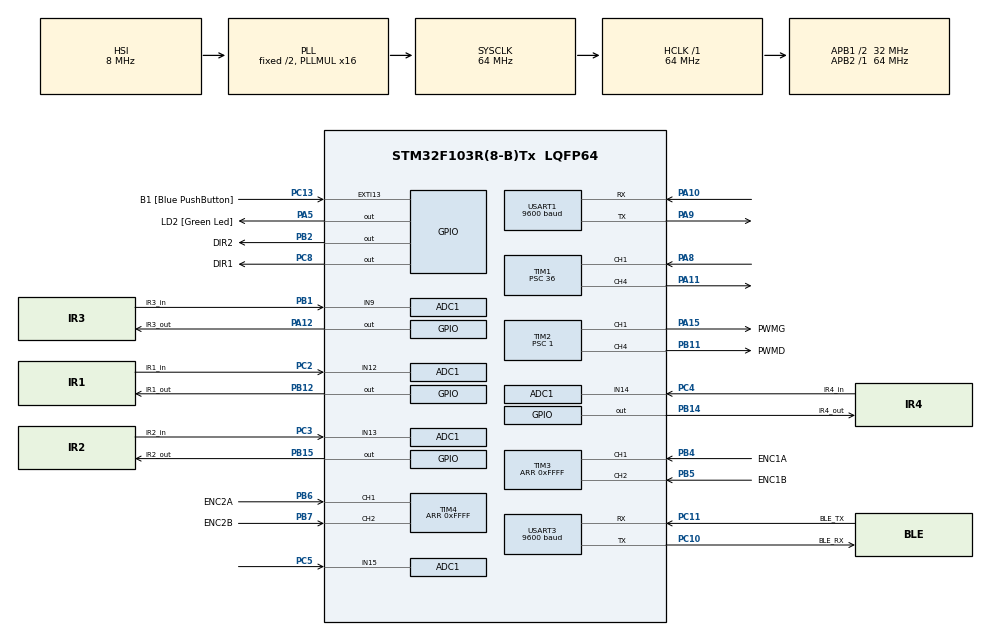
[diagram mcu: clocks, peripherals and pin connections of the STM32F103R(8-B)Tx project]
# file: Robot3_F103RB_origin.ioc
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ADC1.AWD1HighThreshold=4095
ADC1.AWD1ITMode=ENABLE
ADC1.AWD1LowThreshold=3750
ADC1.Channel-0\#ChannelRegularConversion=ADC_CHANNEL_9
ADC1.Channel-1\#ChannelRegularConversion=ADC_CHANNEL_12
ADC1.Channel-2\#ChannelRegularConversion=ADC_CHANNEL_13
ADC1.Channel-3\#ChannelRegularConversion=ADC_CHANNEL_14
ADC1.Channel-4\#ChannelRegularConversion=ADC_CHANNEL_15
ADC1.ContinuousConvMode=DISABLE
ADC1.DataAlign=ADC_DATAALIGN_RIGHT
ADC1.DiscontinuousConvMode=DISABLE
ADC1.EnableAnalogWatchDog=true
ADC1.EnableRegularConversion=ENABLE
ADC1.ExternalTrigConv=ADC_SOFTWARE_START
ADC1.InjNumberOfConversion=0
ADC1.NbrOfConversion=5
ADC1.NbrOfConversionFlag=1
ADC1.Rank-0\#ChannelRegularConversion=1
ADC1.Rank-1\#ChannelRegularConversion=2
ADC1.Rank-2\#ChannelRegularConversion=3
ADC1.Rank-3\#ChannelRegularConversion=4
ADC1.Rank-4\#ChannelRegularConversion=5
ADC1.SamplingTime-0\#ChannelRegularConversion=ADC_SAMPLETIME_239CYCLES_5
ADC1.SamplingTime-1\#ChannelRegularConversion=ADC_SAMPLETIME_239CYCLES_5
ADC1.SamplingTime-2\#ChannelRegularConversion=ADC_SAMPLETIME_239CYCLES_5
ADC1.SamplingTime-3\#ChannelRegularConversion=ADC_SAMPLETIME_239CYCLES_5
ADC1.SamplingTime-4\#ChannelRegularConversion=ADC_SAMPLETIME_239CYCLES_5
ADC1.ScanConvMode=ADC_SCAN_ENABLE
ADC1.WatchdogChannel=ADC_CHANNEL_15
ADC1.master=1
Dma.ADC1.0.Direction=DMA_PERIPH_TO_MEMORY
Dma.ADC1.0.Instance=DMA1_Channel1
Dma.ADC1.0.MemDataAlignment=DMA_MDATAALIGN_HALFWORD
Dma.ADC1.0.MemInc=DMA_MINC_ENABLE
Dma.ADC1.0.Mode=DMA_CIRCULAR
Dma.ADC1.0.PeriphDataAlignment=DMA_PDATAALIGN_HALFWORD
Dma.ADC1.0.PeriphInc=DMA_PINC_DISABLE
Dma.ADC1.0.Priority=DMA_PRIORITY_LOW
Dma.Request0=ADC1
Mcu.Family=STM32F1
Mcu.Name=STM32F103R(8-B)Tx
Mcu.Package=LQFP64
NVIC.DMA1_Channel1_IRQn=true\:0\:0\:false\:false\:true\:true\:true\:true
NVIC.EXTI15_10_IRQn=true\:0\:0\:false\:true\:true\:1\:true\:true\:true
NVIC.PriorityGroup=NVIC_PRIORITYGROUP_4
NVIC.TIM1_CC_IRQn=true\:0\:0\:false\:false\:true\:true\:true\:true
NVIC.TIM2_IRQn=true\:0\:0\:false\:false\:true\:true\:true\:true
NVIC.TIM3_IRQn=true\:0\:0\:false\:false\:true\:true\:true\:true
NVIC.USART1_IRQn=true\:0\:0\:false\:false\:true\:true\:true\:true
NVIC.USART3_IRQn=true\:0\:0\:false\:true\:true\:2\:true\:true\:true
PA10.Mode=Asynchronous
PA10.Signal=USART1_RX
PA11.Signal=S_TIM1_CH4
PA12.GPIO_Label=IR3_out
PA12.Signal=GPIO_Output
PA13.GPIO_Label=TMS
PA13.Mode=Serial_Wire
PA13.Signal=SYS_JTMS-SWDIO
PA14.GPIO_Label=TCK
PA14.Mode=Serial_Wire
PA14.Signal=SYS_JTCK-SWCLK
PA15.GPIO_Label=PWMG
PA15.Signal=S_TIM2_CH1_ETR
PA2.GPIO_Label=USART_TX
PA2.GPIO_Mode=GPIO_MODE_AF_PP
PA2.GPIO_PuPd=GPIO_NOPULL
PA2.GPIO_Speed=GPIO_SPEED_FREQ_LOW
PA2.Signal=USART2_TX
PA3.GPIO_Label=USART_RX
PA3.GPIO_Mode=GPIO_MODE_AF_PP
PA3.GPIO_PuPd=GPIO_NOPULL
PA3.GPIO_Speed=GPIO_SPEED_FREQ_LOW
PA3.Signal=USART2_RX
PA5.GPIO_Label=LD2 [Green Led]
PA5.GPIO_ModeDefaultOutputPP=GPIO_MODE_OUTPUT_PP
PA5.GPIO_PuPd=GPIO_NOPULL
PA5.GPIO_Speed=GPIO_SPEED_FREQ_LOW
PA5.Signal=GPIO_Output
PA8.Signal=S_TIM1_CH1
PA9.Mode=Asynchronous
PA9.Signal=USART1_TX
PB1.GPIO_Label=IR3_in
PB1.Signal=ADCx_IN9
PB11.GPIO_Label=PWMD
PB11.Signal=S_TIM2_CH4
PB12.GPIO_Label=IR1_out
PB12.Signal=GPIO_Output
PB14.GPIO_Label=IR4_out
PB14.Signal=GPIO_Output
PB15.GPIO_Label=IR2_out
PB15.Signal=GPIO_Output
PB2.GPIO_Label=DIR2
PB2.Signal=GPIO_Output
PB3.GPIO_Label=SWO
PB3.Signal=SYS_JTDO-TRACESWO
PB4.GPIO_Label=ENC1A
PB4.Signal=S_TIM3_CH1
PB5.GPIO_Label=ENC1B
PB5.Signal=S_TIM3_CH2
PB6.GPIO_Label=ENC2A
PB6.Signal=S_TIM4_CH1
PB7.GPIO_Label=ENC2B
PB7.Signal=S_TIM4_CH2
PC10.GPIO_Label=BLE_RX
PC10.Mode=Asynchronous
PC10.Signal=USART3_TX
PC11.GPIO_Label=BLE_TX
PC11.Mode=Asynchronous
PC11.Signal=USART3_RX
PC13-TAMPER-RTC.GPIO_Label=B1 [Blue PushButton]
PC13-TAMPER-RTC.GPIO_ModeDefaultEXTI=GPIO_MODE_IT_FALLING
PC13-TAMPER-RTC.GPIO_PuPd=GPIO_NOPULL
PC13-TAMPER-RTC.Signal=GPXTI13
PC14-OSC32_IN.Signal=RCC_OSC32_IN
PC15-OSC32_OUT.Signal=RCC_OSC32_OUT
PC2.GPIO_Label=IR1_in
PC2.Signal=ADCx_IN12
PC3.GPIO_Label=IR2_in
PC3.Signal=ADCx_IN13
PC4.GPIO_Label=IR4_in
PC4.Signal=ADCx_IN14
PC5.Signal=ADCx_IN15
PC8.GPIO_Label=DIR1
PC8.Signal=GPIO_Output
PD0-OSC_IN.Signal=RCC_OSC_IN
PD1-OSC_OUT.Signal=RCC_OSC_OUT
ProjectManager.HeapSize=0x200
ProjectManager.StackSize=0x400
ProjectManager.TargetToolchain=STM32CubeIDE
RCC.ADCPresc=RCC_ADCPCLK2_DIV8
RCC.AHBFreq_Value=64000000
RCC.APB1CLKDivider=RCC_HCLK_DIV2
RCC.APB1Freq_Value=32000000
RCC.APB1TimFreq_Value=64000000
RCC.APB2Freq_Value=64000000
RCC.APB2TimFreq_Value=64000000
RCC.HCLKFreq_Value=64000000
RCC.PLLMUL=RCC_PLL_MUL16
RCC.SYSCLKFreq_VALUE=64000000
RCC.SYSCLKSource=RCC_SYSCLKSOURCE_PLLCLK
RCC.USBFreq_Value=64000000
SH.ADCx_IN12.0=ADC1_IN12,IN12
SH.ADCx_IN13.0=ADC1_IN13,IN13
SH.ADCx_IN14.0=ADC1_IN14,IN14
SH.ADCx_IN15.0=ADC1_IN15,IN15
SH.ADCx_IN9.0=ADC1_IN9,IN9
SH.S_TIM1_CH1.0=TIM1_CH1,PWM_Input_1
SH.S_TIM1_CH4.0=TIM1_CH4,PWM Generation4 CH4
SH.S_TIM2_CH1_ETR.0=TIM2_CH1,PWM Generation1 CH1
SH.S_TIM2_CH4.0=TIM2_CH4,PWM Generation4 CH4
SH.S_TIM3_CH1.0=TIM3_CH1,Encoder_Interface
SH.S_TIM3_CH2.0=TIM3_CH2,Encoder_Interface
SH.S_TIM4_CH1.0=TIM4_CH1,Encoder_Interface
SH.S_TIM4_CH2.0=TIM4_CH2,Encoder_Interface
TIM1.AutoReloadPreload=TIM_AUTORELOAD_PRELOAD_ENABLE
TIM1.Channel-PWM\ Generation4\ CH4=TIM_CHANNEL_4
TIM1.ICFilter_1=5
TIM1.ICFilter_2=5
TIM1.Period=0xFFFF
TIM1.Prescaler=36
TIM2.AutoReloadPreload=TIM_AUTORELOAD_PRELOAD_DISABLE
TIM2.Channel-PWM\ Generation1\ CH1=TIM_CHANNEL_1
TIM2.Channel-PWM\ Generation4\ CH4=TIM_CHANNEL_4
TIM2.Period=64000
TIM2.Prescaler=1
TIM3.AutoReloadPreload=TIM_AUTORELOAD_PRELOAD_ENABLE
TIM3.EncoderMode=TIM_ENCODERMODE_TI12
TIM3.IC1Filter=8
TIM3.IC1Polarity=TIM_ICPOLARITY_RISING
TIM3.IC2Filter=8
TIM3.IC2Polarity=TIM_ICPOLARITY_RISING
TIM3.Period=0xFFFF
TIM4.AutoReloadPreload=TIM_AUTORELOAD_PRELOAD_ENABLE
TIM4.EncoderMode=TIM_ENCODERMODE_TI12
TIM4.IC1Filter=8
TIM4.IC1Polarity=TIM_ICPOLARITY_RISING
TIM4.IC2Filter=8
TIM4.IC2Polarity=TIM_ICPOLARITY_RISING
TIM4.Period=0xFFFF
USART1.BaudRate=9600
USART1.VirtualMode=VM_ASYNC
USART3.BaudRate=9600
USART3.VirtualMode=VM_ASYNC
VP_TIM1_VS_ClockSourceINT.Mode=Internal
VP_TIM2_VS_ClockSourceINT.Mode=Internal
board=NUCLEO-F103RB

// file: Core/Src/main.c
/* USER CODE BEGIN Header */
/**
  ******************************************************************************
  * @file           : main.c
  * @brief          : Main program body
  ******************************************************************************
  * @attention
  *
  * <h2><center>&copy; Copyright (c) 2020 STMicroelectronics.
  * All rights reserved.</center></h2>
  *
  * This software component is licensed by ST under BSD 3-Clause license,
  * the "License"; You may not use this file except in compliance with the
  * License. You may obtain a copy of the License at:
  *                        opensource.org/licenses/BSD-3-Clause
  *
  ******************************************************************************
  */
/* USER CODE END Header */
#include "main.h"
#include "adc.h"
#include "dma.h"
#include "tim.h"
#include "usart.h"
#include "gpio.h"

/* USER CODE BEGIN Includes */
#include <stdlib.h>
#include <stdio.h>
/* USER CODE END Includes */

/* USER CODE BEGIN PV */
#define AVANCE 	GPIO_PIN_SET
#define RECULE  GPIO_PIN_RESET
#define POURCENT 640
#define Seuil_Dist_4 1600 // corespond à 10 cm.
#define Seuil_Dist_3 1600
#define Seuil_Dist_1 1600
#define Seuil_Dist_2 1600
#define V1 38
#define V2 56
#define V3 76
#define Vmax 95

#define T_2_S 1000 //( pwm période = 2 ms )
#define T_100_MS 50
#define T_200_MS 100
#define T_2000_MS 1000
#define CKp_D 100  //80 Robot1
#define CKp_G 100  //80 Robot1
#define CKi_D 80  //50 Robot1
#define CKi_G 80  //50 Robot1
#define CKd_D 0
#define CKd_G 0
#define DELTA 0x50
//
#define angle_m90 4000
#define angle_0 2200 //2400
#define angle_90 800

#define turn_y 1950 //1950
#define turn_x 1700
//

enum CMDE {
	START,
	STOP,
	AVANT,
	ARRIERE,
	DROITE,
	GAUCHE,
	CMDE_PARK,
	CMDE_MOVE_PARK
};
volatile enum CMDE CMDE;
enum MODE {
	SLEEP, ACTIF, PARK, MOVE_PARK
};
volatile enum MODE Mode;
volatile unsigned char New_CMDE = 0;
volatile uint16_t Dist_ACS_1, Dist_ACS_2, Dist_ACS_3, Dist_ACS_4;
volatile unsigned int Time = 0;
volatile unsigned int Tech = 0;
uint16_t adc_buffer[10];
uint16_t Vbatt = 0;
uint16_t Buff_Dist[8];
uint32_t BLUE_RX;
//uint32_t Xbee_RX;
//
volatile int cpt_park;
//

uint16_t _DirG, _DirD, CVitG, CVitD, DirD, DirG;
uint16_t _CVitD = 0;
uint16_t _CVitG = 0;
uint16_t VitD, VitG;
int16_t DistD, DistG;
int16_t DistD_old = 0;
int16_t DistG_old = 0;
int CMDE_VitD = 0;
int CMDE_VitG = 0;
unsigned long Dist_parcours = 0;
volatile uint32_t Dist_Obst;
volatile uint32_t Dist_Obst_cm;
uint32_t Dist;
uint8_t UNE_FOIS = 1;
uint32_t OV = 0;
//
uint8_t TX_XBEE[3], RX_XBEE[3];
uint8_t id = 0x9B;
volatile int recu = 0;
volatile int cpt_turn = 0;
//
static int cpt = 0;
static int dist_avance = 0;
static int dist_init_x_ap, dist_init_y_ap;
static uint32_t x_ap, y_ap, z_ap;		//position du robot park
//static uint8_t pos[3];
uint8_t  pos[6];
static uint32_t x_p, y_p, z_p;
int i;
/* USER CODE END PV */

void SystemClock_Config(void);
static void MX_NVIC_Init(void);
/* USER CODE BEGIN PFP */
void Gestion_Commandes(void);
void regulateur(void);
void controle(void);
void Calcul_Vit(void);
void ACS(void);
void Park_Assist(void);
void zig_tx_send(void);

/* USER CODE END PFP */

/* USER CODE BEGIN 0 */

int main(void)
{

  /* MCU Configuration--------------------------------------------------------*/

  /* Reset of all peripherals, Initializes the Flash interface and the Systick. */
  HAL_Init();

  /* USER CODE BEGIN Init */
  Dist_Obst = 0;
  /* USER CODE END Init */

  /* Configure the system clock */
  SystemClock_Config();

  /* Initialize all configured peripherals */
  MX_GPIO_Init();
  MX_DMA_Init();
  MX_ADC1_Init();
  MX_TIM2_Init();
  MX_TIM3_Init();
  MX_TIM4_Init();
  MX_USART3_UART_Init();
  MX_TIM1_Init();
  MX_USART1_UART_Init();

  /* Initialize interrupts */
  MX_NVIC_Init();
  /* USER CODE BEGIN 2 */

  HAL_TIM_IC_Start_IT(&htim1, TIM_CHANNEL_2);
  HAL_TIM_PWM_Start(&htim1, TIM_CHANNEL_4);

  HAL_SuspendTick(); // suppresion des Tick interrupt pour le mode sleep.
  HAL_TIM_PWM_Start(&htim2, TIM_CHANNEL_4);  // Start PWM motor
  HAL_TIM_PWM_Start(&htim2, TIM_CHANNEL_1);

  CMDE = STOP;
  New_CMDE = 1;

  HAL_TIM_Base_Start_IT(&htim2);  // Start IT sur font montant PWM

  HAL_TIM_Encoder_Start(&htim3, TIM_CHANNEL_ALL);
  HAL_TIM_Encoder_Start(&htim4, TIM_CHANNEL_ALL);

  HAL_UART_Receive_IT(&huart3, &BLUE_RX, 1);
  HAL_UART_Receive_IT(&huart1, &BLUE_RX, 1);

  /*char tmp ='A';
  while(1){

	  HAL_UART_Receive_IT(&huart1, &BLUE_RX, 1);
	  HAL_UART_Transmit(&huart1,&tmp,1,1);

  }

  //HAL_ADC_Start_IT(&hadc1);
   */

  /* USER CODE END 2 */

  /* Infinite loop */
  /* USER CODE BEGIN WHILE */
 //__HAL_TIM_SET_COMPARE(&htim1, TIM_CHANNEL_4, angle_0);
  while (1)
  {
	  Gestion_Commandes();
	  controle();
	  Park_Assist();
    /* USER CODE END WHILE */

  }
}

void SystemClock_Config(void)
{
  RCC_OscInitTypeDef RCC_OscInitStruct = {0};
  RCC_ClkInitTypeDef RCC_ClkInitStruct = {0};
  RCC_PeriphCLKInitTypeDef PeriphClkInit = {0};

  /** Initializes the RCC Oscillators according to the specified parameters
  * in the RCC_OscInitTypeDef structure.
  */
  RCC_OscInitStruct.OscillatorType = RCC_OSCILLATORTYPE_HSI;
  RCC_OscInitStruct.HSIState = RCC_HSI_ON;
  RCC_OscInitStruct.HSICalibrationValue = RCC_HSICALIBRATION_DEFAULT;
  RCC_OscInitStruct.PLL.PLLState = RCC_PLL_ON;
  RCC_OscInitStruct.PLL.PLLSource = RCC_PLLSOURCE_HSI_DIV2;
  RCC_OscInitStruct.PLL.PLLMUL = RCC_PLL_MUL16;
  if (HAL_RCC_OscConfig(&RCC_OscInitStruct) != HAL_OK)
  {
    Error_Handler();
  }

  /** Initializes the CPU, AHB and APB buses clocks
  */
  RCC_ClkInitStruct.ClockType = RCC_CLOCKTYPE_HCLK|RCC_CLOCKTYPE_SYSCLK
                              |RCC_CLOCKTYPE_PCLK1|RCC_CLOCKTYPE_PCLK2;
  RCC_ClkInitStruct.SYSCLKSource = RCC_SYSCLKSOURCE_PLLCLK;
  RCC_ClkInitStruct.AHBCLKDivider = RCC_SYSCLK_DIV1;
  RCC_ClkInitStruct.APB1CLKDivider = RCC_HCLK_DIV2;
  RCC_ClkInitStruct.APB2CLKDivider = RCC_HCLK_DIV1;

  if (HAL_RCC_ClockConfig(&RCC_ClkInitStruct, FLASH_LATENCY_2) != HAL_OK)
  {
    Error_Handler();
  }
  PeriphClkInit.PeriphClockSelection = RCC_PERIPHCLK_ADC;
  PeriphClkInit.AdcClockSelection = RCC_ADCPCLK2_DIV8;
  if (HAL_RCCEx_PeriphCLKConfig(&PeriphClkInit) != HAL_OK)
  {
    Error_Handler();
  }
}

/**
  * @brief NVIC Configuration.
  * @retval None
  */
static void MX_NVIC_Init(void)
{
  /* EXTI15_10_IRQn interrupt configuration */
  HAL_NVIC_SetPriority(EXTI15_10_IRQn, 0, 0);
  HAL_NVIC_EnableIRQ(EXTI15_10_IRQn);
  /* USART3_IRQn interrupt configuration */
  HAL_NVIC_SetPriority(USART3_IRQn, 0, 0);
  HAL_NVIC_EnableIRQ(USART3_IRQn);
}

/* USER CODE BEGIN 4 */
void Gestion_Commandes(void) {
	enum ETAT {
		VEILLE,
		ARRET,
		AV1,
		AV2,
		AV3,
		RV1,
		RV2,
		RV3,
		DV1,
		DV2,
		DV3,
		GV1,
		GV2,
		GV3,
		S_PARK,
		S_MOVE_PARK
	};
	static enum ETAT Etat = VEILLE;

if (New_CMDE) {
		New_CMDE = 0;
	switch (CMDE) {
		case STOP: {
			_CVitD = _CVitG = 0;
			// Mise en sommeil: STOP mode , réveil via IT BP1
			Etat = VEILLE;
			Mode = SLEEP;
			break;
		}
		case START: {
			// réveil sytème grace à l'IT BP1
			Etat = ARRET;
			Mode = SLEEP;
			break;
		}
		case AVANT: {
			switch (Etat) {
			case VEILLE: {
				Etat = VEILLE;
				Mode = SLEEP;
				break;
			}
			case ARRET: {
				_DirG = AVANCE;
				_DirD = AVANCE;
				_CVitG = V1;
				_CVitD = V1;
				Etat = AV1;
				Mode = ACTIF;
				break;
			}
			case AV1: {
				_DirG = AVANCE;
				_DirD = AVANCE;
				_CVitG = V2;
				_CVitD = V2;
				Etat = AV2;
				Mode = ACTIF;
				break;
			}
			case AV2: {
				_DirG = AVANCE;
				_DirD = AVANCE;
				_CVitG = V3;
				_CVitD = V3 ;
				Etat = AV3;
				Mode = ACTIF;
				break;
			}
			case AV3: {
				_DirG = AVANCE;
				_DirD = AVANCE;
				_CVitG = V3;
				_CVitD = V3 ;
				Etat = AV3;
				Mode = ACTIF;
				break;
			}
			case RV1: {
				_DirG = RECULE;
				_DirD = RECULE;
				_CVitG = 0;
				_CVitD = 0;
				Etat = ARRET;
				Mode = SLEEP;

				break;
			}
			case RV2: {
				_DirG = RECULE;
				_DirD = RECULE;
				_CVitG = V1;
				_CVitD = V1;
				Etat = RV1;
				Mode = ACTIF;
				break;
			}
			case RV3: {
				_DirG = RECULE;
				_DirD = RECULE;
				_CVitG = V2;
				_CVitD = V2;
				Etat = RV2;
				Mode = ACTIF;
				break;
			}
			case DV1: {
				_DirG = AVANCE;
				_DirD = AVANCE;
				_CVitG = V1;
				_CVitD = V1;
				Etat = AV1;
				Mode = ACTIF;
				break;
			}
			case DV2: {
				_DirG = AVANCE;
				_DirD = AVANCE;
				_CVitG = V2;
				_CVitD = V2;
				Etat = AV2;
				Mode = ACTIF;
				break;
			}
			case DV3: {
				_DirG = AVANCE;
				_DirD = AVANCE;
				_CVitG = V3;
				_CVitD = V3;
				Etat = AV3;
				Mode = ACTIF;
				break;
			}
			case GV1: {
				_DirG = AVANCE;
				_DirD = AVANCE;
				_CVitG = V1;
				_CVitD = V1;
				Etat = AV2;
				Mode = ACTIF;
				break;
			}
			case GV2: {
				_DirG = AVANCE;
				_DirD = AVANCE;
				_CVitG = V2;
				_CVitD = V2;
				Etat = AV2;
				Mode = ACTIF;
				break;
			}
			case GV3: {
				_DirG = AVANCE;
				_DirD = AVANCE;
				_CVitG = V3;
				_CVitD = V3;
				Etat = AV3;
				Mode = ACTIF;
				break;
			}
			case S_PARK: {
				// On reste en park
				Etat = S_PARK;
				Mode = ACTIF;
				break;
			}
			case S_MOVE_PARK: {
				// On reste en attende de park
				Etat = S_MOVE_PARK;
				Mode = ACTIF;
				break;
			}
			}
			break;
		}
		case ARRIERE: {
			switch (Etat) {
			case VEILLE: {
				Etat = VEILLE;
				Mode = SLEEP;
				break;
			}
			case ARRET: {
				_DirG = RECULE;
				_DirD = RECULE;
				_CVitG = V1;
				_CVitD = V1;
				Etat = RV1;
				Mode = ACTIF;
				break;
			}
			case AV1: {
				_DirG = AVANCE;
				_DirD = AVANCE;
				_CVitG = 0;
				_CVitD = 0;
				Etat = ARRET;
				Mode = SLEEP;

				break;
			}
			case AV2: {
				_DirG = AVANCE;
				_DirD = AVANCE;
				_CVitG = V1;
				_CVitD = V1;
				Etat = AV1;
				Mode = ACTIF;
				break;
			}
			case AV3: {
				_DirG = AVANCE;
				_DirD = AVANCE;
				_CVitG = V2;
				_CVitD = V2;
				Etat = AV2;
				Mode = ACTIF;
				break;
			}
			case RV1: {
				_DirG = RECULE;
				_DirD = RECULE;
				_CVitG = V2;
				_CVitD = V2;
				Etat = RV2;
				Mode = ACTIF;
				break;
			}
			case RV2: {
				_DirG = RECULE;
				_DirD = RECULE;
				_CVitG = V3;
				_CVitD = V3;
				Etat = RV3;
				Mode = ACTIF;
				break;
			}
			case RV3: {
				_DirG = RECULE;
				_DirD = RECULE;
				_CVitG = V3;
				_CVitD = V3;
				Etat = RV3;
				Mode = ACTIF;
				break;
			}
			case DV1: {
				_DirG = RECULE;
				_DirD = RECULE;
				_CVitG = V1;
				_CVitD = V1;
				Etat = RV1;
				Mode = ACTIF;
				break;
			}
			case DV2: {
				_DirG = RECULE;
				_DirD = RECULE;
				_CVitG = V2;
				_CVitD = V2;
				Etat = RV2;
				Mode = ACTIF;
				break;
			}
			case DV3: {
				_DirG = RECULE;
				_DirD = RECULE;
				_CVitG = V3;
				_CVitD = V3;
				Etat = RV3;
				Mode = ACTIF;
				break;
			}
			case GV1: {
				_DirG = RECULE;
				_DirD = RECULE;
				_CVitG = V1;
				_CVitD = V1;
				Etat = RV1;
				Mode = ACTIF;
				break;
			}
			case GV2: {
				_DirG = RECULE;
				_DirD = RECULE;
				_CVitG = V2;
				_CVitD = V2;
				Etat = RV2;
				Mode = ACTIF;
				break;
			}
			case GV3: {
				_DirG = RECULE;
				_DirD = RECULE;
				_CVitG = V3;
				_CVitD = V3;
				Etat = RV3;
				Mode = ACTIF;
				break;
			}
			case S_PARK: {
				Etat = S_PARK;
				Mode = ACTIF;
				break;
			}
			case S_MOVE_PARK: {
				Etat = S_MOVE_PARK;
				Mode = ACTIF;
				break;
			}
			}
			break;
		}
		case DROITE: {
			switch (Etat) {
			case VEILLE: {
				Etat = VEILLE;
				Mode = SLEEP;
				break;
			}
			case ARRET: {
				_DirG = AVANCE;
				_DirD = RECULE;
				_CVitG = V1;
				_CVitD = V1;
				Etat = DV1;
				Mode = ACTIF;
				break;
			}
			case AV1: {
				_DirG = AVANCE;
				_DirD = RECULE;
				_CVitG = V1;
				_CVitD = V1;
				Etat = DV1;
				Mode = ACTIF;
				break;
			}
			case AV2: {
				_DirG = AVANCE;
				_DirD = RECULE;
				_CVitG = V2;
				_CVitD = V2;
				Etat = DV2;
				Mode = ACTIF;
				break;
			}
			case AV3: {
				_DirG = AVANCE;
				_DirD = RECULE;
				_CVitG = V3;
				_CVitD = V3;
				Etat = DV3;
				Mode = ACTIF;
				break;
			}
			case RV1: {
				_DirG = AVANCE;
				_DirD = RECULE;
				_CVitG = V1;
				_CVitD = V1;
				Etat = DV1;
				Mode = ACTIF;
				break;
			}
			case RV2: {
				_DirG = AVANCE;
				_DirD = RECULE;
				_CVitG = V2;
				_CVitD = V2;
				Etat = DV2;
				Mode = ACTIF;
				break;
			}
			case RV3: {
				_DirG = AVANCE;
				_DirD = RECULE;
				_CVitG = V3;
				_CVitD = V3;
				Etat = DV3;
				Mode = ACTIF;
				break;
			}
			case DV1: {
				_DirG = AVANCE;
				_DirD = RECULE;
				_CVitG = V2;
				_CVitD = V2;
				Etat = DV2;
				Mode = ACTIF;
				break;
			}
			case DV2: {
				_DirG = AVANCE;
				_DirD = RECULE;
				_CVitG = V3;
				_CVitD = V3;
				Etat = DV3;
				Mode = ACTIF;
				break;
			}
			case DV3: {
				_DirG = AVANCE;
				_DirD = RECULE;
				_CVitG = V3;
				_CVitD = V3;
				Etat = DV3;
				Mode = ACTIF;
				break;
			}
			case GV1: {
				_DirG = RECULE;
				_DirD = RECULE;
				_CVitG = 0;
				_CVitD = 0;
				Etat = ARRET;
				Mode = SLEEP;

				break;
			}
			case GV2: {
				_DirG = RECULE;
				_DirD = AVANCE;
				_CVitG = V1;
				_CVitD = V1;
				Etat = GV1;
				Mode = ACTIF;
				break;
			}
			case GV3: {
				_DirG = RECULE;
				_DirD = AVANCE;
				_CVitG = V2;
				_CVitD = V2;
				Etat = GV2;
				Mode = ACTIF;
				break;
			}
			case S_PARK: {
				Etat = S_PARK;
				Mode = ACTIF;
				break;
			}
			case S_MOVE_PARK: {
				Etat = S_MOVE_PARK;
				Mode = ACTIF;
				break;
			}
			}
			break;
		}
		case GAUCHE: {
			switch (Etat) {
			case VEILLE: {
				Etat = VEILLE;
				Mode = SLEEP;
				break;
			}
			case ARRET: {
				_DirG = RECULE;
				_DirD = AVANCE;
				_CVitG = V1;
				_CVitD = V1;
				Etat = GV1;
				Mode = ACTIF;
				break;
			}
			case AV1: {
				_DirG = RECULE;
				_DirD = AVANCE;
				_CVitG = V1;
				_CVitD = V1;
				Etat = GV1;
				Mode = ACTIF;
				break;
			}
			case AV2: {
				_DirG = RECULE;
				_DirD = AVANCE;
				_CVitG = V2;
				_CVitD = V2;
				Etat = GV2;
				Mode = ACTIF;
				break;
			}
			case AV3: {
				_DirG = RECULE;
				_DirD = AVANCE;
				_CVitG = V3;
				_CVitD = V3;
				Etat = GV3;
				Mode = ACTIF;
				break;
			}
			case RV1: {
				_DirG = RECULE;
				_DirD = AVANCE;
				_CVitG = V1;
				_CVitD = V1;
				Etat = GV1;
				Mode = ACTIF;
				break;
			}
			case RV2: {
				_DirG = RECULE;
				_DirD = AVANCE;
				_CVitG = V2;
				_CVitD = V2;
				Etat = GV2;
				Mode = ACTIF;
				break;
			}
			case RV3: {
				_DirG = RECULE;
				_DirD = AVANCE;
				_CVitG = V3;
				_CVitD = V3;
				Etat = GV3;
				Mode = ACTIF;
				break;
			}
			case DV1: {
				_DirG = RECULE;
				_DirD = RECULE;
				_CVitG = 0;
				_CVitD = 0;
				Etat = ARRET;
				Mode = SLEEP;

				break;
			}
			case DV2: {
				_DirG = AVANCE;
				_DirD = RECULE;
				_CVitG = V1;
				_CVitD = V1;
				Etat = DV1;
				Mode = ACTIF;
				break;
			}
			case DV3: {
				_DirG = AVANCE;
				_DirD = RECULE;
				_CVitG = V2;
				_CVitD = V2;
				Etat = DV2;
				Mode = ACTIF;
				break;
			}
			case GV1: {
				_DirG = RECULE;
				_DirD = AVANCE;
				_CVitG = V2;
				_CVitD = V2;
				Etat = GV2;
				Mode = ACTIF;
				break;
			}
			case GV2: {
				_DirG = RECULE;
				_DirD = AVANCE;
				_CVitG = V3;
				_CVitD = V3;
				Etat = GV3;
				Mode = ACTIF;
				break;
			}
			case GV3: {
				_DirG = RECULE;
				_DirD = AVANCE;
				_CVitG = V3;
				_CVitD = V3;
				Etat = GV3;
				Mode = ACTIF;
				break;
			}
			case S_PARK: {
				Etat = S_PARK;
				Mode = ACTIF;
				break;
			}
			case S_MOVE_PARK: {
				Etat = S_MOVE_PARK;
				Mode = ACTIF;
				break;
			}
			}
			break;
		}
		case CMDE_PARK: {
			switch (Etat) {
			case VEILLE: {
				Etat = VEILLE;
				Mode = SLEEP;
				break;
			}
			default:{
				_CVitD = _CVitG = 0;
				Etat = S_PARK;
				Mode = PARK;
				break;
			}
			}
			break;
		}
		case CMDE_MOVE_PARK:{
			switch (Etat) {
			case VEILLE: {
				Etat = VEILLE;
				Mode = SLEEP;
				break;
			}
			default:{
				_CVitD = _CVitG = 0;
				Etat = S_PARK;
				Mode = MOVE_PARK;
				break;
			}
			}
			break;
		}
	}
}
}

void controle(void) {

	if (Tech >= T_200_MS) {
		Tech = 0;
		ACS();
		Calcul_Vit();
		regulateur();
	}

}

void ACS(void) {
	enum ETAT {
		ARRET, ACTIF
	};
	static enum ETAT Etat = ARRET;
	static uint16_t Delta1 = 0;
	static uint16_t Delta2 = 0;
	static uint16_t Delta3 = 0;
	static uint16_t Delta4 = 0;

	switch (Etat) {
	case ARRET: {
		if (Mode == SLEEP )	{
			CVitD = _CVitD;
			CVitG = _CVitG;
			DirD = _DirD;
			DirG = _DirG;
		}
		else {
			Etat = ACTIF;
		}
		break;
	}
	case ACTIF: {
		if (Mode == SLEEP)
			Etat = ARRET;
		if (_DirD == AVANCE && _DirG == AVANCE) {
			if ((Dist_ACS_1 < Seuil_Dist_1 - Delta1)
					&& (Dist_ACS_2 < Seuil_Dist_2 - Delta2)) {
				CVitD = _CVitD;
				CVitG = _CVitG;
				DirD = _DirD;
				DirG = _DirG;
				Delta1 = Delta2 = 0;
			} else if ((Dist_ACS_1 < Seuil_Dist_1)
					&& (Dist_ACS_2 > Seuil_Dist_2)) {
				CVitD = V1;
				CVitG = V1;
				DirG = AVANCE;
				DirD = RECULE;
				Delta2 = DELTA;
			} else if ((Dist_ACS_1 > Seuil_Dist_1)
					&& (Dist_ACS_2 < Seuil_Dist_2)) {
				CVitD = V1;
				CVitG = V1;
				DirD = AVANCE;
				DirG = RECULE;
				Delta1 = DELTA;
			} else if ((Dist_ACS_1 > Seuil_Dist_1)
					&& (Dist_ACS_2 > Seuil_Dist_2)) {
				CVitD = 0;
				CVitG = 0;
				DirD = RECULE;
				DirG = RECULE;
			}
		} else if (_DirD == RECULE && _DirG == RECULE) {
			if ((Dist_ACS_3 < Seuil_Dist_3 - Delta3)
					&& (Dist_ACS_4 < Seuil_Dist_4 - Delta4)) {
				CVitD = _CVitD;
				CVitG = _CVitG;
				DirD = _DirD;
				DirG = _DirG;
				Delta3 = Delta4 = 0;
			} else if ((Dist_ACS_3 > Seuil_Dist_3)
					&& (Dist_ACS_4 < Seuil_Dist_4)) {
				CVitD = V1;
				CVitG = V1;
				DirD = AVANCE;
				DirG = RECULE;
				Delta3 = DELTA;
			} else if ((Dist_ACS_3 < Seuil_Dist_3)
					&& (Dist_ACS_4 > Seuil_Dist_4)) {
				CVitD = V1;
				CVitG = V1;
				DirG = AVANCE;
				DirD = RECULE;
				Delta4 = DELTA;
			} else if ((Dist_ACS_3 > Seuil_Dist_3)
					&& (Dist_ACS_4 > Seuil_Dist_4)) {
				CVitD = 0;
				CVitG = 0;
				DirD = RECULE;
				DirG = RECULE;
			}
		} else {
			CVitD = _CVitD;
			CVitG = _CVitG;
			DirD = _DirD;
			DirG = _DirG;
		}
		break;
	}
	}
}

void Calcul_Vit(void) {

	DistD = __HAL_TIM_GET_COUNTER(&htim3);
	DistG = __HAL_TIM_GET_COUNTER(&htim4);
	VitD = abs(DistD - DistD_old);
	VitG = abs(DistG - DistG_old);
	DistD_old = DistD;
	DistG_old = DistG;
	if (DirD == DirG) {
		Dist_parcours = Dist_parcours + ((VitD + VitG) >> 1);
	}
}

void regulateur(void) {
	enum ETAT {
		ARRET, ACTIF
	};
	static enum ETAT Etat = ARRET;
	uint16_t Kp_D = CKp_D;
	uint16_t Kp_G = CKp_G;
	uint16_t Ki_D = CKi_D;
	uint16_t Ki_G = CKi_G;
	uint16_t Kd_D = CKd_D;
	uint16_t Kd_G = CKd_G;

	static int16_t ErreurD = 0;
	static int16_t ErreurG = 0;
	static int16_t ErreurD_old = 0;
	static int16_t ErreurG_old = 0;
	static int16_t S_erreursD = 0;
	static int16_t S_erreursG = 0;
	static int16_t V_erreurD = 0;
	static int16_t V_erreurG = 0;

	switch (Etat) {
	case ARRET: {
		if (Mode == SLEEP) {
			__HAL_TIM_SET_COMPARE(&htim2, TIM_CHANNEL_4, 0);
			__HAL_TIM_SET_COMPARE(&htim2, TIM_CHANNEL_1, 0);
			HAL_TIM_PWM_Stop(&htim2, TIM_CHANNEL_4);
			HAL_TIM_PWM_Stop(&htim2, TIM_CHANNEL_1);
			HAL_GPIO_WritePin(IR3_out_GPIO_Port, IR3_out_Pin, GPIO_PIN_RESET);
			HAL_GPIO_WritePin(IR4_out_GPIO_Port, IR4_out_Pin, GPIO_PIN_RESET);
			HAL_GPIO_WritePin(IR1_out_GPIO_Port, IR1_out_Pin, GPIO_PIN_RESET);
			HAL_GPIO_WritePin(IR2_out_GPIO_Port, IR2_out_Pin, GPIO_PIN_RESET);

			HAL_PWR_EnterSLEEPMode(PWR_LOWPOWERREGULATOR_ON,
					PWR_SLEEPENTRY_WFI);

			__HAL_TIM_SET_COMPARE(&htim2, TIM_CHANNEL_4, 0);
			__HAL_TIM_SET_COMPARE(&htim2, TIM_CHANNEL_1, 0);
			HAL_TIM_PWM_Start(&htim2, TIM_CHANNEL_4);
			HAL_TIM_PWM_Start(&htim2, TIM_CHANNEL_1);
			Time = 0;
		}
		else {
			Etat = ACTIF;
		}
		break;
	}
	case ACTIF: {
		if ((CVitD != 0) && (CVitG != 0))
			Time = 0;
		if ((Mode == SLEEP) && (VitD == 0) && (VitG == 0) && Time > T_2_S)
			Etat = ARRET;
		else {
			ErreurD = CVitD - VitD;
			ErreurG = CVitG - VitG;
			S_erreursD += ErreurD;
			S_erreursG += ErreurG;
			V_erreurD = ErreurD - ErreurD_old;
			V_erreurG = ErreurG - ErreurG_old;
			ErreurD_old = ErreurD;
			ErreurG_old = ErreurG;
			CMDE_VitD = (unsigned int) Kp_D * (int) (ErreurD)
					+ (unsigned int) Ki_D * ((int) S_erreursD)
					+ (unsigned int) Kd_D * (int) V_erreurD;
			CMDE_VitG = (unsigned int) Kp_G * (int) (ErreurG)
					+ (unsigned int) Ki_G * ((int) S_erreursG)
					+ (unsigned int) Kd_G * (int) V_erreurG;

			//CMDE_VitD = _CVitD*640;
			//CMDE_VitG = _CVitG*640;
			//	DirD = _DirD;
			//	DirG= _DirG;

			if (CMDE_VitD < 0)
				CMDE_VitD = 0;
			if (CMDE_VitG < 0)
				CMDE_VitG = 0;
			if (CMDE_VitD > 100 * POURCENT)
				CMDE_VitD = 100 * POURCENT;
			if (CMDE_VitG > 100 * POURCENT)
				CMDE_VitG = 100 * POURCENT;
			__HAL_TIM_SET_COMPARE(&htim2, TIM_CHANNEL_1, (uint16_t ) CMDE_VitG);
			__HAL_TIM_SET_COMPARE(&htim2, TIM_CHANNEL_4, (uint16_t ) CMDE_VitD);
			HAL_GPIO_WritePin(DIR1_GPIO_Port, DIR1_Pin, (GPIO_PinState) DirD);
			HAL_GPIO_WritePin(DIR2_GPIO_Port, DIR2_Pin, (GPIO_PinState) DirG);

		}
		break;
	}
	}
}

void Park_Assist(void) {
	enum ETAT {
		S_REPOS,
		S_PARK,
		P_POSITION_X,
		P_TRIG_X,
		P_MESURE_X,
		P_POSITION_Y,
		P_TRIG_Y,
		P_MESURE_Y,
		P_POSITION_Z,
		P_TRIG_Z,
		P_MESURE_Z,
		P_SEND_POS,
		S_MOVE_PARK,
		MP_POSITION_X,
		MP_TRIG_X,
		MP_MESURE_X,
		MP_POSITION_Y,
		MP_TRIG_Y,
		MP_MESURE_Y,
		MP_POSITION_Z,
		MP_TRIG_Z,
		MP_MESURE_Z,
		MP_TOURNE_X,
		MP_AVANCE_X,
		MP_TOURNE_Y,
		MP_AVANCE_Y,
		S_FIN
	};
	static enum ETAT Etat = S_REPOS;
	/*static int cpt = 0;
	static int dist_avance = 0;
	static int dist_init_x_ap, dist_init_y_ap;
	static uint32_t x_ap, y_ap, z_ap;		//position du robot park
	static uint8_t pos[3];
	static uint32_t x_p, y_p;*/		//position pendant mouvement de attente park

	if (cpt_park >= T_100_MS) {	// toutes les 100 ms
		cpt_park = 0;
		switch (Etat) {
		case S_REPOS: {
			if (CMDE == CMDE_PARK)
				Etat = S_PARK;
			else if (CMDE == CMDE_MOVE_PARK)
				Etat = S_MOVE_PARK;
			break;
		}

		// PARK

		case S_PARK: {
				Etat = P_POSITION_Z;
			break;
		}
		case P_POSITION_Z:{
					__HAL_TIM_SET_COMPARE(&htim1, TIM_CHANNEL_4, angle_90);		//servo 90°
					if (cpt++ >= 20){
						cpt = 0;
						Etat = P_TRIG_Z;
					}
					break;
				}
		case P_TRIG_Z: {
					HAL_GPIO_WritePin(GPIOB, GPIO_PIN_10, GPIO_PIN_SET);
					Etat = P_MESURE_Z;
					break;
				}
		case P_MESURE_Z:{
					HAL_GPIO_WritePin(GPIOB, GPIO_PIN_10, GPIO_PIN_RESET);
					z_ap = Dist_Obst_cm;
					Etat = P_POSITION_Y;
					break;
				}
		case P_POSITION_Y: {
			__HAL_TIM_SET_COMPARE(&htim1, TIM_CHANNEL_4, angle_m90);		//servo -90°
			if (cpt++ >= 20){
				cpt = 0;
				Etat = P_TRIG_Y;
			}
			break;
		}
		case P_TRIG_Y: {
			HAL_GPIO_WritePin(GPIOB, GPIO_PIN_10, GPIO_PIN_SET);
			Etat = P_MESURE_Y;
			break;
		}
		case P_MESURE_Y:{
			HAL_GPIO_WritePin(GPIOB, GPIO_PIN_10, GPIO_PIN_RESET);
			y_ap = Dist_Obst_cm;
			Etat = P_POSITION_X;
			break;
		}
		case P_POSITION_X:{
			__HAL_TIM_SET_COMPARE(&htim1, TIM_CHANNEL_4, angle_0);		//servo 0°
			if (cpt++ >= 20){
				cpt = 0;
				Etat = P_TRIG_X;
			}
			break;
		}
		case P_TRIG_X: {
			HAL_GPIO_WritePin(GPIOB, GPIO_PIN_10, GPIO_PIN_SET);
			Etat = P_MESURE_X;
			break;
		}
		case P_MESURE_X:{
			HAL_GPIO_WritePin(GPIOB, GPIO_PIN_10, GPIO_PIN_RESET);
			x_ap = Dist_Obst_cm;
			Etat = P_SEND_POS;
			break;
		}

		case P_SEND_POS:{
			if(HAL_UART_Receive_IT(&huart1, &BLUE_RX, 1)){
				zig_tx_send();
			}
			Etat = S_FIN;
			break;
		}

		// MOVE_PARK

		case S_MOVE_PARK: {
			Etat = MP_POSITION_Z;
		}
		case MP_POSITION_Z:{
							__HAL_TIM_SET_COMPARE(&htim1, TIM_CHANNEL_4, angle_90);		//servo 90°
							if (cpt++ >= 20){
								cpt = 0;
								Etat = MP_TRIG_Z;
							}
							break;
						}
		case MP_TRIG_Z: {
							HAL_GPIO_WritePin(GPIOB, GPIO_PIN_10, GPIO_PIN_SET);
							Etat = MP_MESURE_Z;
							break;
						}
		case MP_MESURE_Z:{
							HAL_GPIO_WritePin(GPIOB, GPIO_PIN_10, GPIO_PIN_RESET);
							z_p = Dist_Obst_cm;
							Etat = MP_POSITION_Y;
							break;
						}
		case MP_POSITION_Y: {
			__HAL_TIM_SET_COMPARE(&htim1, TIM_CHANNEL_4, angle_m90);		//servo -90°
			if (cpt++ >= 20) {
				cpt = 0;
				Etat = MP_TRIG_Y;
			}
			break;
		}
		case MP_TRIG_Y: {
			HAL_GPIO_WritePin(GPIOB, GPIO_PIN_10, GPIO_PIN_SET);
			Etat = MP_MESURE_Y;
			break;
		}
		case MP_MESURE_Y: {
			HAL_GPIO_WritePin(GPIOB, GPIO_PIN_10, GPIO_PIN_RESET);
			y_p = Dist_Obst_cm;
			Etat = MP_POSITION_X;
			break;
		}
		case MP_POSITION_X: {
			__HAL_TIM_SET_COMPARE(&htim1, TIM_CHANNEL_4, angle_0);		//servo 0°
			if (cpt++ >= 20) {
				cpt = 0;
				Etat = MP_TRIG_X;
			}
			break;
		}
		case MP_TRIG_X: {
			HAL_GPIO_WritePin(GPIOB, GPIO_PIN_10, GPIO_PIN_SET);
			Etat = MP_MESURE_X;
			break;
		}
		case MP_MESURE_X: {
			HAL_GPIO_WritePin(GPIOB, GPIO_PIN_10, GPIO_PIN_RESET);
			x_p = Dist_Obst_cm;
			cpt_turn = 0;
			Etat = MP_TOURNE_Y;
			break;
		}
		case MP_TOURNE_Y: {
			if(y_p < y_ap){
				_DirG = AVANCE;	// turn right
				_DirD = RECULE;
				_CVitG = V1;
				_CVitD = V1;
				if (cpt_turn >= turn_y) {
					_CVitG = _CVitD = 0;
					dist_init_y_ap = Dist_parcours;
					Etat = MP_AVANCE_Y;
				}
			}
			else{
				_DirG = RECULE;	// turn left
				_DirD = AVANCE;
				_CVitG = V1;
				_CVitD = V1;
				if (cpt_turn >= turn_y) {
					_CVitG = _CVitD = 0;
					dist_init_y_ap = Dist_parcours;
					Etat = MP_AVANCE_Y;
				}
			}
			break;
		}
		case MP_AVANCE_Y: {
			cpt_turn = 0;
			dist_avance = abs(y_ap - y_p);
			_DirD = AVANCE;
			_DirG = AVANCE;
			_CVitD = V1;
			_CVitG = V1;
			if (abs(Dist_parcours - dist_init_y_ap) >= dist_avance*17) {
				_CVitG = _CVitD = 0;
				Etat = MP_TOURNE_X;
			}
			break;
		}
		case MP_TOURNE_X: {
			if(y_p < y_ap){
				_DirG = RECULE;	// turn left
				_DirD = AVANCE;
				_CVitG = V1;
				_CVitD = V1;
				if (cpt_turn >= turn_x) {
					_CVitG = _CVitD = 0;
					dist_init_x_ap = Dist_parcours;
					Etat = MP_AVANCE_X;
				}
			}
			else{
				_DirG = AVANCE;	// turn right
				_DirD = RECULE;
				_CVitG = V1;
				_CVitD = V1;
				if (cpt_turn >= turn_x) {
					_CVitG = _CVitD = 0;
					dist_init_x_ap = Dist_parcours;
					Etat = MP_AVANCE_X;
				}
			}
			break;
		}
		case MP_AVANCE_X: {
			dist_avance = abs(x_ap - x_p);
			_DirD = AVANCE;
			_DirG = AVANCE;
			_CVitD = V1;
			_CVitG = V1;
			if (abs(Dist_parcours - dist_init_x_ap) >= dist_avance*17) {
				_CVitG = _CVitD = 0;
				Etat = S_FIN;
			}
			break;
		}

		// FIN

		case S_FIN: {
			Etat = S_REPOS;
			CMDE = START;
			New_CMDE = 1;
			break;
		}

		}
	}
}

void zig_tx_send(void)
{
	static uint32_t addr = 'X123';
	uint32_t buffer[6];
	buffer[0] = addr;
	buffer[1]=x_ap;
	buffer[2]=y_ap;
	buffer[3]=z_ap;
	buffer[4] = ';';
	buffer[5]=' ';

	HAL_UART_Transmit(&huart1, (uint32_t *) buffer, sizeof(buffer), HAL_MAX_DELAY);
}

void HAL_UART_RxCpltCallback(UART_HandleTypeDef *huart) {

	if (huart->Instance == USART3) {

		switch (BLUE_RX) {
		case 'F': {
			CMDE = AVANT;
			break;
		}

		case 'B': {
			CMDE = ARRIERE;
			break;
		}

		case 'L': {
			CMDE = GAUCHE;
			break;
		}

		case 'R': {
			CMDE = DROITE;
			break;
		}

		case 'D': {
			// disconnect bluetooth
			break;
		}

		case 'W':{	// feux avant
			CMDE = CMDE_PARK;
			New_CMDE = 1;
			break;
		}

		case 'X':{	// triangle
			CMDE = CMDE_MOVE_PARK;
			New_CMDE = 1;
			break;
		}

		case 'U':{	// back lights on
			CMDE = STOP;
			New_CMDE = 1;
			break;
		}

		case 'u':{	// back lights off
			CMDE = START;
			New_CMDE = 1;
			break;
		}

		default:
			New_CMDE = 1;
		}

		HAL_UART_Receive_IT(&huart3, &BLUE_RX, 1);
	}

	if (huart->Instance == USART1){
		recu = 1;
		HAL_UART_Receive_IT(&huart1, &BLUE_RX, 1);
	}

}

void HAL_ADC_ConvCpltCallback(ADC_HandleTypeDef *hadc) {

	Dist_ACS_3 = adc_buffer[0] - adc_buffer[5];
	Dist_ACS_4 = adc_buffer[3] - adc_buffer[8];
	Dist_ACS_1 = adc_buffer[1] - adc_buffer[6];
	Dist_ACS_2 = adc_buffer[2] - adc_buffer[7];
	Vbatt = adc_buffer[4];
	HAL_ADC_Stop_DMA(hadc);
}

void HAL_TIM_PeriodElapsedCallback(TIM_HandleTypeDef * htim) {
	static unsigned char cpt = 0;

	if ( htim->Instance == TIM2) {
		cpt++;
		Time++;
		Tech++;
		cpt_park++;
		cpt_turn++;

		switch (cpt) {
		case 1: {
			HAL_GPIO_WritePin(IR3_out_GPIO_Port, IR3_out_Pin, GPIO_PIN_SET);
			HAL_GPIO_WritePin(IR4_out_GPIO_Port, IR4_out_Pin, GPIO_PIN_SET);
			HAL_GPIO_WritePin(IR1_out_GPIO_Port, IR1_out_Pin, GPIO_PIN_SET);
			HAL_GPIO_WritePin(IR2_out_GPIO_Port, IR2_out_Pin, GPIO_PIN_SET);
			break;
		}
		case 2: {
			HAL_ADC_Start_DMA(&hadc1, (uint32_t *) adc_buffer, 10);
			break;
		}
		case 3: {
			HAL_GPIO_WritePin(IR3_out_GPIO_Port, IR3_out_Pin, GPIO_PIN_RESET);
			HAL_GPIO_WritePin(IR4_out_GPIO_Port, IR4_out_Pin, GPIO_PIN_RESET);
			HAL_GPIO_WritePin(IR1_out_GPIO_Port, IR1_out_Pin, GPIO_PIN_RESET);
			HAL_GPIO_WritePin(IR2_out_GPIO_Port, IR2_out_Pin, GPIO_PIN_RESET);
			break;
		}
		case 4: {
			HAL_ADC_Start_DMA(&hadc1, (uint32_t *) adc_buffer, 10);
			break;
		}
		default:
			cpt = 0;
		}
	}
}

void HAL_ADC_LevelOutOfWindowCallback(ADC_HandleTypeDef *hadc) {
	HAL_GPIO_WritePin(GPIOA, LD2_Pin, GPIO_PIN_SET);

}

void HAL_TIM_IC_CaptureCallback(TIM_HandleTypeDef *htim) {
	if (htim->Channel == HAL_TIM_ACTIVE_CHANNEL_2){
		Dist_Obst = (uint32_t) HAL_TIM_ReadCapturedValue(htim, TIM_CHANNEL_2);
		Dist_Obst_cm = (uint32_t)(650*Dist_Obst/65535); //en cm
		HAL_GPIO_WritePin(GPIOB, GPIO_PIN_10, GPIO_PIN_RESET);
	}
}

void HAL_GPIO_EXTI_Callback(uint16_t GPIO_Pin) {

	static unsigned char TOGGLE = 0;

	if (TOGGLE)
		CMDE = STOP;
	else
		CMDE = START;
	TOGGLE = ~TOGGLE;
	New_CMDE = 1;
}

/* USER CODE END 4 */

void Error_Handler(void)
{
}
